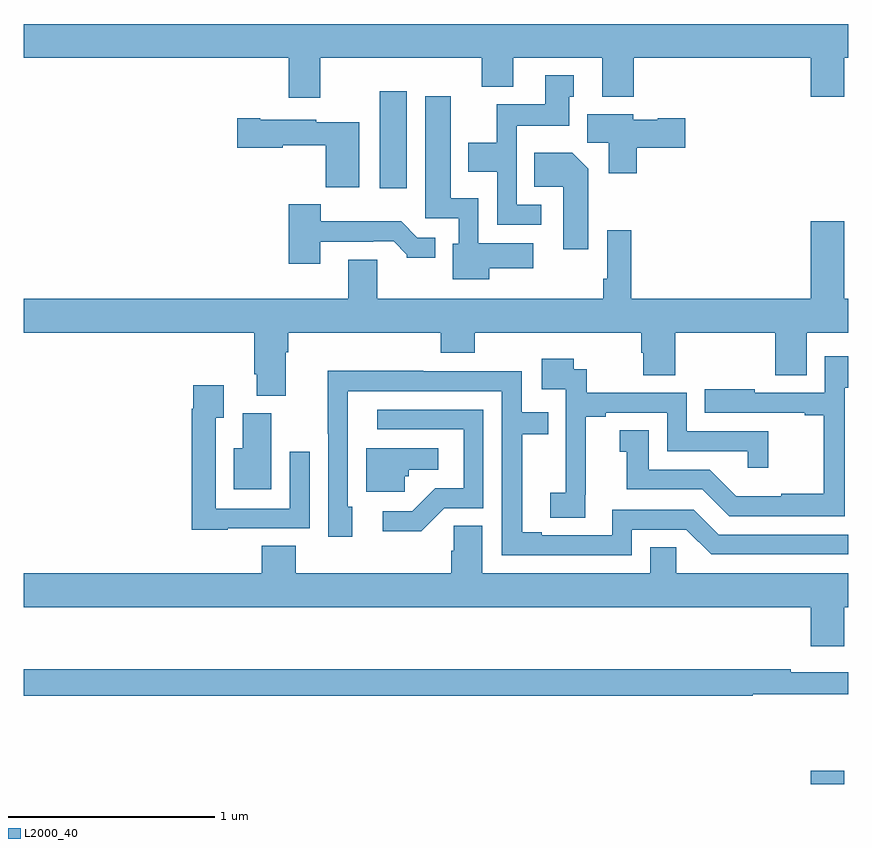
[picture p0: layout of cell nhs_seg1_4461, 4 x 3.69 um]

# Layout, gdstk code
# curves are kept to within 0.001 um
import gdstk
lib = gdstk.Library(unit=1e-6, precision=1e-09)
def R(c, l, rs):  # rectangles x0, y0, x1, y1
    for r in rs: c.add(gdstk.rectangle(r[:2], r[2:], *l))
def P(c, l, *ps):  # polygons
    for p in ps: c.add(gdstk.Polygon(p, *l))
L2000_40 = (2000, 40)

nhs_seg1_4461 = lib.new_cell('nhs_seg1_4461')
R(nhs_seg1_4461, L2000_40, [(356.816,560.199,356.98,560.263), (354.728,563.088,354.859,563.557)])
P(nhs_seg1_4461, L2000_40, [(354.439,563.72),(355.223,563.72),(355.223,563.579),(355.375,563.579),(355.375,563.72),(355.805,563.72),(355.805,563.531),(355.958,563.531),(355.958,563.72),(356.816,563.72),(356.816,563.532),(356.98,563.532),(356.98,563.72),(357,563.72),(357,563.884),(353,563.884),(353,563.72),(354.287,563.72),(354.287,563.526),(354.439,563.526)],
  [(355.51,563.007),(355.392,563.007),(355.392,563.39),(355.645,563.39),(355.645,563.532),(355.669,563.532),(355.669,563.635),(355.529,563.635),(355.529,563.494),(355.294,563.494),(355.294,563.308),(355.157,563.308),(355.157,563.168),(355.296,563.168),(355.296,562.911),(355.51,562.911)],
  [(355.259,562.7),(355.471,562.7),(355.471,562.822),(355.206,562.822),(355.206,563.038),(355.072,563.038),(355.072,563.533),(354.947,563.533),(354.947,562.941),(355.11,562.941),(355.11,562.818),(355.082,562.818),(355.082,562.646),(355.259,562.646)],
  [(355.973,563.285),(356.209,563.285),(356.209,563.427),(356.076,563.427),(356.076,563.419),(355.956,563.419),(355.956,563.446),(355.733,563.446),(355.733,563.308),(355.838,563.308),(355.838,563.16),(355.973,563.16)],
  [(354.628,563.407),(354.42,563.407),(354.42,563.419),(354.148,563.419),(354.148,563.427),(354.036,563.427),(354.036,563.285),(354.258,563.285),(354.258,563.297),(354.466,563.297),(354.466,563.093),(354.628,563.093)],
  [(355.738,563.182),(355.66,563.26),(355.477,563.26),(355.477,563.096),(355.616,563.096),(355.616,562.791),(355.738,562.791)],
  [(354.439,562.827),(354.695,562.827),(354.695,562.83),(354.794,562.83),(354.858,562.766),(354.858,562.751),(354.997,562.751),(354.997,562.848),(354.909,562.848),(354.831,562.927),(354.442,562.927),(354.442,563.011),(354.287,563.011),(354.287,562.722),(354.439,562.722)],
  [(355.946,562.885),(355.83,562.885),(355.83,562.648),(355.81,562.648),(355.81,562.552),(354.715,562.552),(354.715,562.742),(354.575,562.742),(354.575,562.552),(353,562.552),(353,562.388),(354.119,562.388),(354.119,562.186),(354.131,562.186),(354.131,562.081),(354.271,562.081),(354.271,562.292),(354.284,562.292),(354.284,562.388),(355.022,562.388),(355.022,562.289),(355.187,562.289),(355.187,562.388),(355.994,562.388),(355.994,562.29),(356.006,562.29),(356.006,562.18),(356.159,562.18),(356.159,562.388),(356.645,562.388),(356.645,562.18),(356.797,562.18),(356.797,562.388),(357,562.388),(357,562.552),(356.98,562.552),(356.98,562.927),(356.816,562.927),(356.816,562.552),(355.946,562.552)],
  [(356.982,562.121),(357,562.121),(357,562.273),(356.886,562.273),(356.886,562.095),(356.545,562.095),(356.545,562.114),(356.302,562.114),(356.302,561.999),(356.789,561.999),(356.789,561.987),(356.881,561.987),(356.881,561.607),(356.675,561.607),(356.675,561.595),(356.456,561.595),(356.328,561.723),(356.032,561.723),(356.032,561.914),(355.892,561.914),(355.892,561.811),(355.925,561.811),(355.925,561.627),(356.292,561.627),(356.421,561.498),(356.982,561.498)],
  [(355.724,561.601),(355.726,561.601),(355.726,561.979),(355.822,561.979),(355.822,561.999),(356.121,561.999),(356.121,561.813),(356.511,561.813),(356.511,561.732),(356.612,561.732),(356.612,561.909),(356.217,561.909),(356.217,562.095),(355.73,562.095),(355.73,562.209),(355.668,562.209),(355.668,562.261),(355.512,562.261),(355.512,562.113),(355.629,562.113),(355.629,561.809),(355.628,561.809),(355.628,561.612),(355.554,561.612),(355.554,561.49),(355.724,561.49)],
  [(355.95,561.432),(356.214,561.432),(356.334,561.312),(357,561.312),(357,561.408),(356.37,561.408),(356.25,561.528),(355.854,561.528),(355.854,561.405),(355.513,561.405),(355.513,561.42),(355.417,561.42),(355.417,561.894),(355.544,561.894),(355.544,562.002),(355.416,562.002),(355.416,562.2),(354.938,562.2),(354.938,562.202),(354.476,562.202),(354.477,561.399),(354.595,561.399),(354.595,561.543),(354.573,561.543),(354.573,562.104),(355.32,562.104),(355.32,561.309),(355.95,561.309)],
  [(353.991,561.438),(354.387,561.438),(354.387,561.811),(354.291,561.811),(354.291,561.534),(353.931,561.534),(353.931,561.976),(353.971,561.976),(353.971,562.132),(353.823,562.132),(353.823,562.019),(353.815,562.019),(353.815,561.431),(353.991,561.431)],
  [(355.041,561.537),(355.23,561.537),(355.23,562.014),(354.714,562.014),(354.714,561.918),(355.134,561.918),(355.134,561.633),(354.996,561.633),(354.885,561.522),(354.741,561.522),(354.741,561.425),(354.928,561.425)],
  [(354.202,561.996),(354.062,561.996),(354.062,561.826),(354.02,561.826),(354.02,561.629),(354.202,561.629)],
  [(354.849,561.69),(354.868,561.69),(354.868,561.722),(355.012,561.722),(355.012,561.826),(354.662,561.826),(354.662,561.615),(354.849,561.615)],
  [(356.166,561.347),(356.039,561.347),(356.039,561.22),(355.225,561.22),(355.225,561.452),(355.086,561.452),(355.086,561.329),(355.073,561.329),(355.073,561.22),(354.32,561.22),(354.32,561.353),(354.155,561.353),(354.155,561.22),(353,561.22),(353,561.056),(356.816,561.056),(356.816,560.868),(356.98,560.868),(356.98,561.056),(357,561.056),(357,561.22),(356.166,561.22)],
  [(356.536,560.634),(357,560.634),(357,560.742),(356.72,560.742),(356.72,560.755),(353,560.755),(353,560.626),(356.536,560.626)])

lib.write_gds('nhs_seg1_4461.gds')
